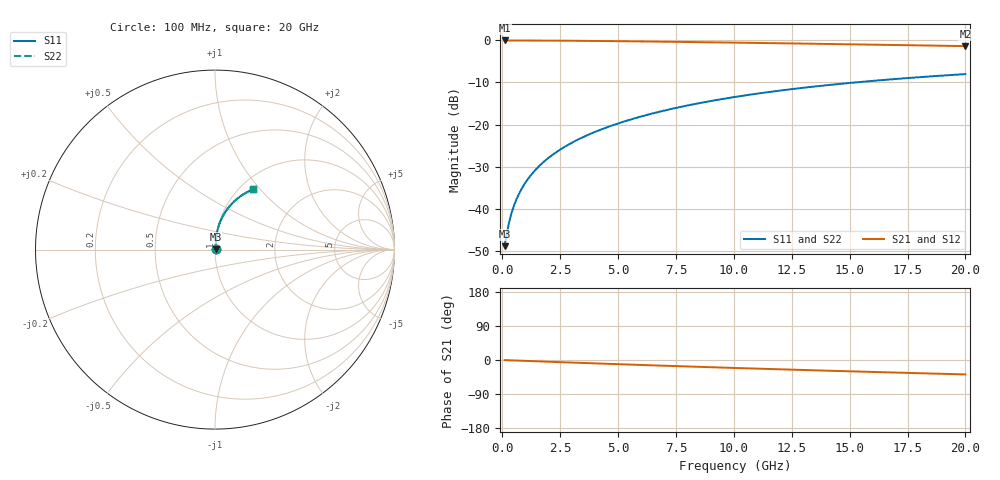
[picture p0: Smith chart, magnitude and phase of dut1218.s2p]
! Touchstone file exported from HFSS 2024.1.0
!  File:  C:/UserFiles/LocalFiles/RDL_TSV_Batchsim/temp_RDL_top_1218_1780240131.aedt
!  Generated:  11:11:34 PM May 31, 2026
!  Design:  RDL_top
!  Project:  temp_RDL_top_1218_1780240131
!  Setup:  Setup1
!  Solution:  Sweep
! Variables:
!  dtsv = 10.80580581um
!  hbump = 3um
!  htsv = 62.86um
!  ldown = 100um
!  lrdl = 481.46um
!  p = 40
!  p1 = 59.21um
!  rhole = 1um
!  t = 450um
!  tdown = 3.915915916um
!  trdl = 3.02um
!  wdown = 15.38538539um
!  wrdl = 21.11um
# GHz S MA R 50.000000
! Terminal data exported
! Port[1] = Box2_T1
! Port[2] = Box2_T2
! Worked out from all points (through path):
!   200 points, 100 MHz to 20 GHz, reference 50 ohm
!   highest |S21| = -0.03 dB at 100 MHz (marker M1); lowest = -1.4 dB at 20 GHz (marker M2)
!   group delay of S21, straight-line fit = 5.25 ps
!   lowest |S11| = -48.9 dB at 100 MHz (marker M3), VSWR 1.01, Z = 50.3 + j0.215 ohm
!   |S11| at or under -10 dB: start of sweep to 15.23 GHz
!   |S22| runs from -48.9 to -8.0 dB; largest |S21 - S12| = 2.7e-15
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0.1  0.003601 36.5  0.9971 -0.2  0.9971 -0.2  0.003601 36.5
! Gamma 0 0 0 0
! Port Impedance 50 0 50 0
0.2  0.005194 54.9  0.997 -0.5  0.997 -0.5  0.005194 54.9
0.3  0.007028 63.7  0.9968 -0.7  0.9968 -0.7  0.007028 63.7
0.4  0.00892 68.7  0.9967 -0.9  0.9967 -0.9  0.00892 68.7
0.5  0.01083 72.0  0.9965 -1.2  0.9965 -1.2  0.01083 72.0
0.6  0.01274 74.3  0.9963 -1.4  0.9963 -1.4  0.01274 74.3
0.8  0.0166 77.4  0.996 -1.8  0.996 -1.8  0.0166 77.4
1.1  0.02244 80.2  0.9954 -2.5  0.9954 -2.5  0.02244 80.2
1.5  0.03032 82.1  0.9945 -3.4  0.9945 -3.4  0.03032 82.1
1.8  0.03631 83.0  0.9937 -4.1  0.9937 -4.1  0.03631 83.0
2.1  0.04235 83.5  0.9927 -4.8  0.9927 -4.8  0.04235 83.5
2.7  0.05457 84.0  0.9904 -6.1  0.9904 -6.1  0.05457 84.0
3.5  0.07118 84.0  0.9867 -7.9  0.9867 -7.9  0.07118 84.0
4.2  0.08598 83.6  0.9828 -9.4  0.9828 -9.4  0.08598 83.6
5  0.1031 82.9  0.978 -11.1  0.978 -11.1  0.1031 82.9
5.9  0.1227 81.8  0.9719 -12.9  0.9719 -12.9  0.1227 81.8
6.8  0.1424 80.5  0.9655 -14.8  0.9655 -14.8  0.1424 80.6
8.4  0.1773 78.0  0.9533 -17.9  0.9533 -17.9  0.1773 78.0
10.1  0.2139 75.0  0.9396 -21.1  0.9396 -21.1  0.2139 75.0
13.4  0.2814 69.0  0.9119 -27.1  0.9119 -27.1  0.2814 69.0
16.7  0.3429 63.2  0.8831 -32.7  0.8831 -32.7  0.3429 63.2
20  0.3975 57.7  0.8541 -38.0  0.8541 -38.0  0.3975 57.7
